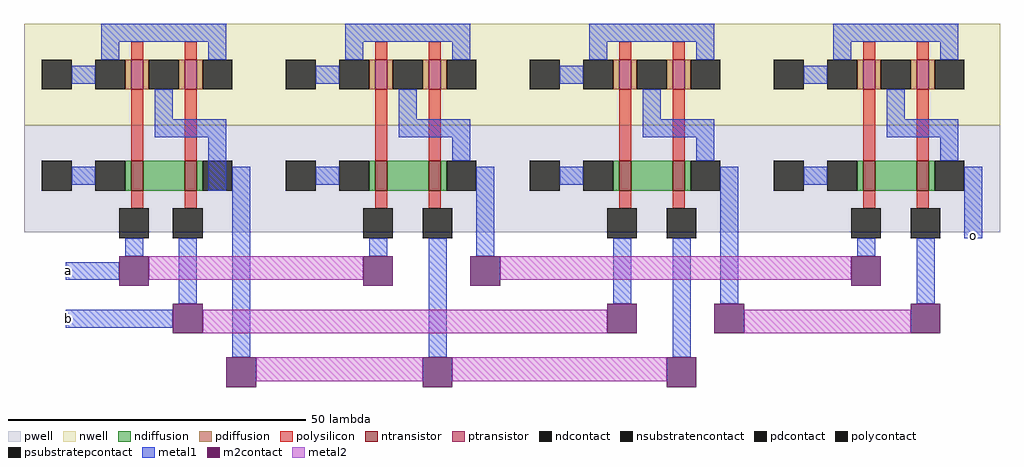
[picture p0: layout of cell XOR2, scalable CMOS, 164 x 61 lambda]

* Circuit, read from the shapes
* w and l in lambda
.subckt XOR2 GND! Vdd! a b o
M1 n1 a GND! GND! nfet w=5 l=2
M2 NAND2_1/b b n1 GND! nfet w=5 l=2
M3 n2 a GND! GND! nfet w=5 l=2
M4 NAND2_3/a NAND2_1/b n2 GND! nfet w=5 l=2
M5 n3 b GND! GND! nfet w=5 l=2
M6 NAND2_3/b NAND2_1/b n3 GND! nfet w=5 l=2
M7 n4 NAND2_3/a GND! GND! nfet w=5 l=2
M8 o NAND2_3/b n4 GND! nfet w=5 l=2
M9 NAND2_1/b a Vdd! Vdd! pfet w=5 l=2
M10 Vdd! b NAND2_1/b Vdd! pfet w=5 l=2
M11 NAND2_3/a a Vdd! Vdd! pfet w=5 l=2
M12 Vdd! NAND2_1/b NAND2_3/a Vdd! pfet w=5 l=2
M13 NAND2_3/b b Vdd! Vdd! pfet w=5 l=2
M14 Vdd! NAND2_1/b NAND2_3/b Vdd! pfet w=5 l=2
M15 o NAND2_3/a Vdd! Vdd! pfet w=5 l=2
M16 Vdd! NAND2_3/b o Vdd! pfet w=5 l=2
.ends

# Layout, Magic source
magic
tech scmos
<< polycontact >>
rect 16 -1 21 4
rect 25 -1 30 4
rect 57 -1 62 4
rect 67 -1 72 4
rect 98 -1 103 4
rect 108 -1 113 4
rect 139 -1 144 4
rect 149 -1 154 4
<< metal1 >>
rect 31 7 34 15
rect 17 -4 20 -1
rect 7 -8 16 -5
rect 26 -12 29 -1
rect 7 -16 25 -13
rect 35 -21 38 11
rect 58 -4 61 -1
rect 68 -21 71 -1
rect 76 -4 79 11
rect 99 -12 102 -1
rect 109 -21 112 -1
rect 117 -12 120 11
rect 158 -1 161 11
rect 140 -4 143 -1
rect 150 -12 153 -1
<< m2contact >>
rect 16 -9 21 -4
rect 25 -17 30 -12
rect 57 -9 62 -4
rect 75 -9 80 -4
rect 98 -17 103 -12
rect 139 -9 144 -4
rect 116 -17 121 -12
rect 149 -17 154 -12
rect 34 -26 39 -21
rect 67 -26 72 -21
rect 108 -26 113 -21
<< metal2 >>
rect 21 -8 57 -4
rect 80 -8 139 -4
rect 30 -17 98 -13
rect 121 -17 149 -13
rect 39 -25 67 -21
rect 72 -25 108 -21
use NAND2  NAND2_0
transform 1 0 12 0 1 7
box -12 -7 29 28
use NAND2  NAND2_1
transform 1 0 53 0 1 7
box -12 -7 29 28
use NAND2  NAND2_2
transform 1 0 94 0 1 7
box -12 -7 29 28
use NAND2  NAND2_3
transform 1 0 135 0 1 7
box -12 -7 29 28
<< labels >>
rlabel metal1 7 -7 8 -6 1 a
rlabel metal1 7 -15 8 -14 1 b
rlabel metal1 159 -1 160 0 7 o
<< end >>

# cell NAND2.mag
magic
tech scmos
<< nwell >>
rect -12 11 29 28
<< pwell >>
rect -12 -7 29 11
<< ntransistor >>
rect 6 0 8 5
rect 15 0 17 5
<< ptransistor >>
rect 6 17 8 22
rect 15 17 17 22
<< ndiffusion >>
rect 5 0 6 5
rect 8 0 15 5
rect 17 0 18 5
<< pdiffusion >>
rect 5 17 6 22
rect 8 17 9 22
rect 14 17 15 22
rect 17 17 18 22
<< ndcontact >>
rect 0 0 5 5
rect 18 0 23 5
<< pdcontact >>
rect 0 17 5 22
rect 9 17 14 22
rect 18 17 23 22
<< psubstratepcontact >>
rect -9 0 -4 5
<< nsubstratencontact >>
rect -9 17 -4 22
<< polysilicon >>
rect 6 22 8 25
rect 15 22 17 25
rect 6 5 8 17
rect 15 5 17 17
rect 6 -3 8 0
rect 15 -3 17 0
<< metal1 >>
rect 1 25 22 28
rect 1 22 4 25
rect 19 22 22 25
rect -4 18 0 21
rect 10 12 13 17
rect 10 9 22 12
rect 19 5 22 9
rect -4 1 0 4
<< labels >>
rlabel metal1 -3 2 -2 3 1 GND!
rlabel metal1 -3 19 -2 20 1 Vdd!
rlabel polysilicon 6 -3 7 -2 1 a
rlabel polysilicon 15 -3 16 -2 1 b
rlabel metal1 21 8 22 9 1 o
<< end >>
